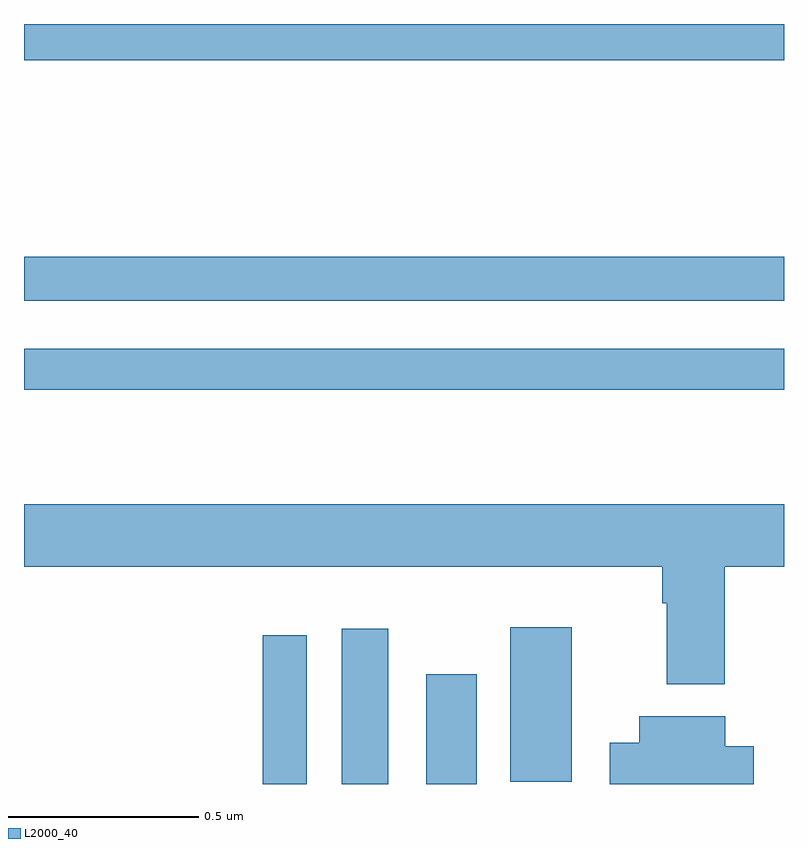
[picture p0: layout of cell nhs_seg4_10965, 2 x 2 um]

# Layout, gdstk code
import gdstk
lib = gdstk.Library(unit=1e-6, precision=1e-09)
def R(c, l, rs):  # rectangles x0, y0, x1, y1
    for r in rs: c.add(gdstk.rectangle(r[:2], r[2:], *l))
def P(c, l, *ps):  # polygons
    for p in ps: c.add(gdstk.Polygon(p, *l))
L2000_40 = (2000, 40)

nhs_seg4_10965 = lib.new_cell('nhs_seg4_10965')
R(nhs_seg4_10965, L2000_40, [(246.628,810.9,246.744,811.291), (246.836,810.9,246.958,811.309), (247.058,810.9,247.192,811.189), (247.28,810.906,247.441,811.312), (246,811.938,248,812.046), (246,812.172,248,812.288), (246,812.804,248,812.9)])
P(nhs_seg4_10965, L2000_40, [(247.844,811.472),(248,811.472),(248,811.636),(246,811.636),(246,811.472),(247.679,811.472),(247.679,811.376),(247.691,811.376),(247.691,811.163),(247.844,811.163)],
  [(247.921,811),(247.846,811),(247.846,811.078),(247.619,811.078),(247.619,811.008),(247.541,811.008),(247.541,810.9),(247.921,810.9)])

lib.write_gds('nhs_seg4_10965.gds')
